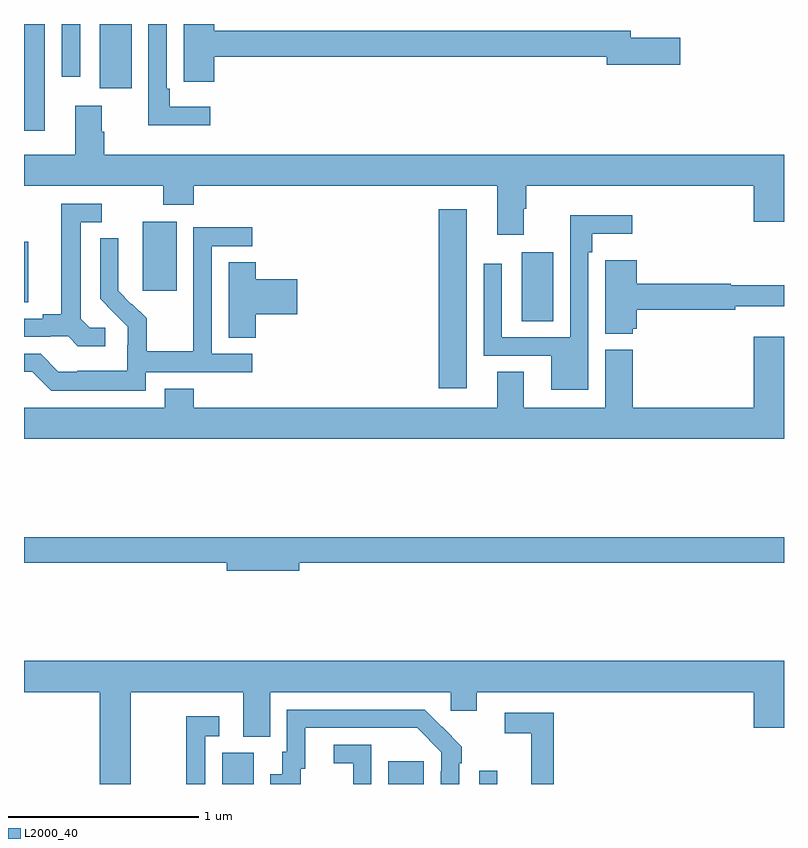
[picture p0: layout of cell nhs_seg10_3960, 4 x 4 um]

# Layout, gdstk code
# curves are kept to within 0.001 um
import gdstk
lib = gdstk.Library(unit=1e-6, precision=1e-09)
def R(c, l, rs):  # rectangles x0, y0, x1, y1
    for r in rs: c.add(gdstk.rectangle(r[:2], r[2:], *l))
def P(c, l, *ps):  # polygons
    for p in ps: c.add(gdstk.Polygon(p, *l))
L2000_40 = (2000, 40)

nhs_seg10_3960 = lib.new_cell('nhs_seg10_3960')
R(nhs_seg10_3960, L2000_40, [(330.044,1298.5,330.208,1298.664), (330.917,1298.5,331.105,1298.62), (331.395,1298.5,331.491,1298.569), (331.184,1300.584,331.33,1301.524), (331.619,1300.936,331.786,1301.299), (329,1301.035,329.023,1301.355), (329.624,1301.097,329.803,1301.458), (329,1301.937,329.11,1302.5), (329.399,1302.162,329.566,1302.5), (329.199,1302.222,329.295,1302.5)])
P(nhs_seg10_3960, L2000_40, [(330.002,1302.328),(332.066,1302.328),(332.066,1302.286),(332.455,1302.286),(332.455,1302.428),(332.194,1302.428),(332.194,1302.464),(330.002,1302.464),(330.002,1302.5),(329.84,1302.5),(329.84,1302.307),(329.841,1302.307),(329.841,1302.195),(330.002,1302.195)],
  [(329.98,1302.064),(329.767,1302.064),(329.767,1302.16),(329.751,1302.16),(329.751,1302.5),(329.655,1302.5),(329.655,1301.966),(329.98,1301.966)],
  [(329.423,1301.933),(329.41,1301.933),(329.41,1302.07),(329.27,1302.07),(329.27,1301.812),(329,1301.812),(329,1301.648),(329.734,1301.648),(329.734,1301.549),(329.894,1301.549),(329.894,1301.648),(331.49,1301.648),(331.49,1301.391),(331.63,1301.391),(331.63,1301.528),(331.643,1301.528),(331.643,1301.648),(332.84,1301.648),(332.84,1301.46),(333,1301.46),(333,1301.812),(329.423,1301.812)],
  [(329.428,1300.902),(329.346,1300.902),(329.299,1300.949),(329.299,1301.457),(329.41,1301.457),(329.41,1301.553),(329.195,1301.553),(329.195,1300.973),(329.099,1300.973),(329.099,1300.95),(329,1300.95),(329,1300.854),(329.138,1300.854),(329.138,1300.857),(329.232,1300.857),(329.284,1300.805),(329.428,1300.805)],
  [(331.971,1301.3),(331.991,1301.3),(331.991,1301.396),(332.2,1301.396),(332.2,1301.494),(331.875,1301.494),(331.875,1300.851),(331.515,1300.851),(331.515,1301.239),(331.419,1301.239),(331.419,1300.755),(331.775,1300.755),(331.775,1300.574),(331.971,1300.574)],
  [(329.64,1300.668),(330.202,1300.668),(330.202,1300.764),(329.988,1300.764),(329.988,1301.331),(330.202,1301.331),(330.202,1301.43),(329.892,1301.43),(329.892,1301),(329.89,1301),(329.89,1300.777),(329.645,1300.777),(329.645,1300.951),(329.568,1301.028),(329.565,1301.025),(329.495,1301.096),(329.496,1301.372),(329.4,1301.372),(329.4,1301.054),(329.546,1300.906),(329.546,1300.809),(329.544,1300.809),(329.544,1300.675),(329.281,1300.675),(329.281,1300.671),(329.181,1300.671),(329.088,1300.764),(329,1300.764),(329,1300.671),(329.043,1300.671),(329.143,1300.571),(329.64,1300.571)],
  [(332.205,1300.896),(332.224,1300.896),(332.224,1300.996),(332.744,1300.996),(332.744,1301.015),(333,1301.015),(333,1301.125),(332.72,1301.125),(332.72,1301.132),(332.224,1301.132),(332.224,1301.257),(332.06,1301.257),(332.06,1300.871),(332.205,1300.871)],
  [(330.221,1300.973),(330.439,1300.973),(330.439,1301.156),(330.221,1301.156),(330.221,1301.246),(330.077,1301.246),(330.077,1300.849),(330.221,1300.849)],
  [(333,1300.855),(332.84,1300.855),(332.84,1300.48),(332.204,1300.48),(332.204,1300.786),(332.06,1300.786),(332.06,1300.48),(331.63,1300.48),(331.63,1300.67),(331.49,1300.67),(331.49,1300.48),(329.894,1300.48),(329.894,1300.579),(329.741,1300.579),(329.741,1300.48),(329,1300.48),(329,1300.316),(333,1300.316)],
  [(330.448,1299.664),(333,1299.664),(333,1299.8),(329,1299.8),(329,1299.664),(330.068,1299.664),(330.068,1299.622),(330.448,1299.622)],
  [(329.563,1298.984),(330.155,1298.984),(330.155,1298.749),(330.295,1298.749),(330.295,1298.984),(331.245,1298.984),(331.245,1298.886),(331.384,1298.886),(331.384,1298.984),(332.84,1298.984),(332.84,1298.796),(333,1298.796),(333,1299.148),(329,1299.148),(329,1298.984),(329.399,1298.984),(329.399,1298.5),(329.563,1298.5)],
  [(330.457,1298.58),(330.481,1298.58),(330.481,1298.796),(331.069,1298.796),(331.197,1298.667),(331.197,1298.567),(331.194,1298.567),(331.194,1298.5),(331.29,1298.5),(331.29,1298.609),(331.305,1298.609),(331.305,1298.697),(331.108,1298.892),(330.384,1298.892),(330.384,1298.67),(330.359,1298.67),(330.359,1298.551),(330.296,1298.551),(330.296,1298.5),(330.457,1298.5)],
  [(331.787,1298.874),(331.53,1298.874),(331.53,1298.766),(331.67,1298.766),(331.67,1298.5),(331.787,1298.5)],
  [(329.955,1298.751),(330.028,1298.751),(330.028,1298.857),(329.854,1298.857),(329.854,1298.5),(329.955,1298.5)],
  [(330.828,1298.706),(330.63,1298.706),(330.63,1298.61),(330.732,1298.61),(330.732,1298.5),(330.828,1298.5)])

lib.write_gds('nhs_seg10_3960.gds')
